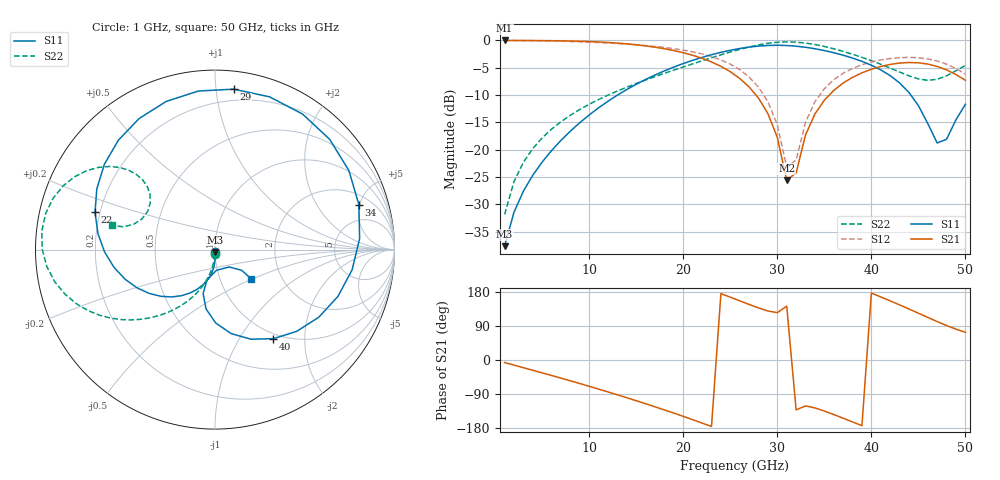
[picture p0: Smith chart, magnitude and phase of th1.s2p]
! Impedora 0.10.0 via model, case th1 (fullwave/cases.json), 2026-11-19
! Through via to a stripline: as the first blind via, with the barrel running on through a 0.3 mm plane pair below as a stub: with its pads and traces, ports at the far end of each trace, after the 3D port calibration.
! Ports: 1 = upper end, 2 = lower end, 50 ohm.
! Compared with the edge 3D mesh.
# Hz S RI R 50
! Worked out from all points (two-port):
!   50 points, 1 GHz to 50 GHz, reference 50 ohm
!   highest |S21| = 0.00 dB at 1 GHz (marker M1); lowest = -25.6 dB at 31 GHz (marker M2)
!   |S21| within 3 dB of the highest: start of sweep to 21.52 GHz
!   lowest |S11| = -37.6 dB at 1 GHz (marker M3), VSWR 1.03, Z = 50 - j1.31 ohm
!   |S11| at or under -10 dB: start of sweep to 13 GHz; 44.2 GHz to end of sweep
!   |S22| runs from -31.8 to -0.3 dB; largest |S21 - S12| = 1.3
!   S11 on the Smith chart (normalised r, x): 1 GHz: 1.00, -0.03; 22 GHz: 0.18, +0.15; 29 GHz: 0.12, +1.12; 34 GHz: 2.88, +4.90; 40 GHz: 0.92, -1.42; 50 GHz: 1.41, -0.50
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1e9  0.000121 -0.0131  0.993 -0.1175  0.998 -0.0574  -0.00101 -0.0256
2e9  0.000374 -0.0269  0.9719 -0.2335  0.992 -0.1146  -0.00403 -0.051
4e9  -0.00023 -0.0586  0.8883 -0.4549  0.9682 -0.2274  -0.0161 -0.1014
1e10  -0.0681 -0.1971  0.3426 -0.9141  0.8029 -0.5346  -0.1007 -0.2407
1.4e10  -0.2395 -0.2637  -0.1555 -0.9172  0.6159 -0.6916  -0.198 -0.3171
1.8e10  -0.5006 -0.1653  -0.5596 -0.6261  0.3691 -0.7801  -0.3336 -0.3732
2.2e10  -0.6685 0.2084  -0.6675 -0.1613  0.0763 -0.7484  -0.5223 -0.39
2.4e10  -0.6161 0.4759  -0.5779 0.0487  -0.0665 -0.6606  -0.6415 -0.3663
2.6e10  -0.4226 0.7304  -0.4114 0.1817  -0.1741 -0.5119  -0.7723 -0.3017
2.9e10  0.1054 0.8938  -0.1357 0.1656  -0.1721 -0.2144  -0.9371 -0.0944
3e10  0.3046 0.8508  -0.0743 0.1065  -0.1119 -0.1268  -0.9625 0.00141
3.1e10  0.4881 0.7551  -0.0416 0.0323  -0.0265 -0.0639  -0.9651 0.1019
3.2e10  0.6393 0.6139  -0.0408 -0.0459  0.0733 -0.0338  -0.9442 0.1989
3.3e10  0.7459 0.4405  -0.0707 -0.117  0.1745 -0.039  -0.9028 0.2848
3.4e10  0.8014 0.251  -0.1262 -0.1713  0.2646 -0.0758  -0.8466 0.3546
3.7e10  0.6849 -0.261  -0.3651 -0.1815  0.4053 -0.2955  -0.6488 0.4583
4e10  0.3259 -0.4961  -0.5441 0.0319  0.3496 -0.5302  -0.4807 0.4422
4.2e10  0.0906 -0.4684  -0.5515 0.2451  0.2332 -0.6424  -0.4026 0.3879
4.4e10  -0.05 -0.3303  -0.4409 0.4479  0.0743 -0.6964  -0.362 0.3071
4.7e10  0.00873 -0.1151  -0.1148 0.5676  -0.1771 -0.6241  -0.4068 0.1711
4.8e10  0.079 -0.0968  -0.00893 0.5376  -0.2373 -0.5582  -0.4542 0.1403
5e10  0.2026 -0.1643  0.1258 0.4136  -0.2831 -0.402  -0.5748 0.1348
